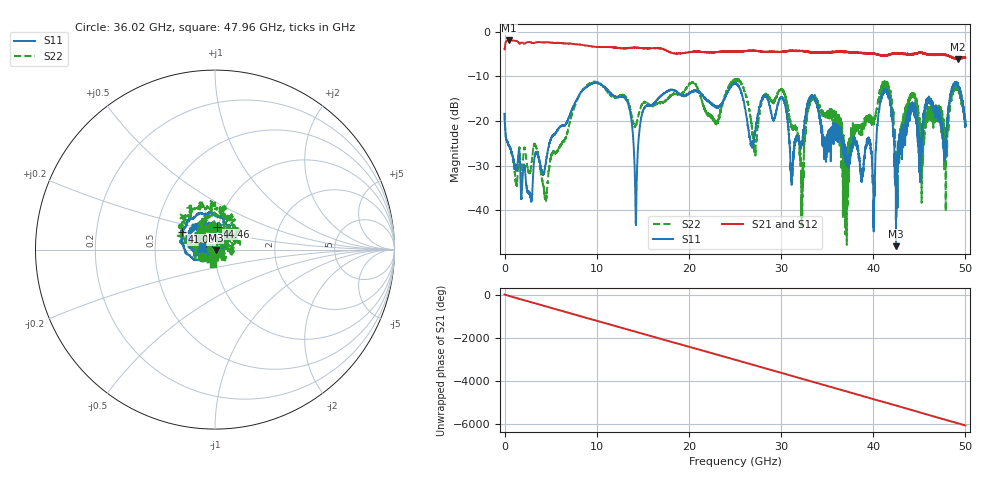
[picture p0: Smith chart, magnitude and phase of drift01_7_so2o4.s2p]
!Created with skrf (http://scikit-rf.org).
# Hz S RI R 50.0
!freq ReS11 ImS11 ReS21 ImS21 ReS12 ImS12 ReS22 ImS22
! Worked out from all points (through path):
!   10001 points, 300 kHz to 50 GHz, reference 50 ohm
!   highest |S21| = -2.00 dB at 490.3 MHz (marker M1); lowest = -6.1 dB at 49.21 GHz (marker M2)
!   group delay of S21, straight-line fit = 336 ps
!   lowest |S11| = -48.0 dB at 42.47 GHz (marker M3), VSWR 1.01, Z = 50.3 - j0.266 ohm
!   |S11| at or under -10 dB: start of sweep to end of sweep
!   |S22| runs from -47.7 to -10.5 dB; largest |S21 - S12| = 0.017
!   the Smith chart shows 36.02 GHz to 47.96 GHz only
!   S11 on the Smith chart (normalised r, x): 36.02 GHz: 0.87, -0.01; 41.05 GHz: 0.68, +0.14; 44.46 GHz: 0.99, +0.26; 47.96 GHz: 0.87, +0.04
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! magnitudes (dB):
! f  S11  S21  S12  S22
! 300 kHz  -18.5  -4.0  -4.0  -18.2
! 490.3 MHz  -25.6  -2.0  -2.0  -25.5
! 4.435 GHz  -29.8  -2.4  -2.4  -37.0
! 8.335 GHz  -13.4  -3.0  -3.0  -13.5
! 13.16 GHz  -15.1  -3.7  -3.8  -14.7
! 14.25 GHz  -42.5  -3.6  -3.6  -21.0
! 16.67 GHz  -15.0  -3.7  -3.7  -15.9
! 25 GHz  -11.6  -4.5  -4.6  -10.8
! 27.14 GHz  -22.7  -4.3  -4.3  -26.0
! 30.2 GHz  -15.1  -4.5  -4.5  -13.4
! 32.25 GHz  -24.7  -4.3  -4.3  -39.9
! 33.34 GHz  -14.3  -4.7  -4.6  -14.6
! 36.02 GHz  -22.8  -4.6  -4.6  -21.6
! 37.04 GHz  -27.2  -4.6  -4.5  -29.5
! 40.02 GHz  -37.8  -4.9  -5.0  -20.6
! 41.05 GHz  -13.7  -5.4  -5.4  -11.8
! 41.67 GHz  -14.3  -5.2  -5.2  -12.7
! 42.47 GHz  -48.0  -4.9  -4.8  -32.2
! 44.46 GHz  -17.8  -4.9  -4.9  -14.5
! 47.96 GHz  -22.8  -5.2  -5.2  -21.9
! 49.21 GHz  -12.0  -6.1  -6.1  -12.8
! 50 GHz  -20.9  -5.8  -5.8  -19.7
